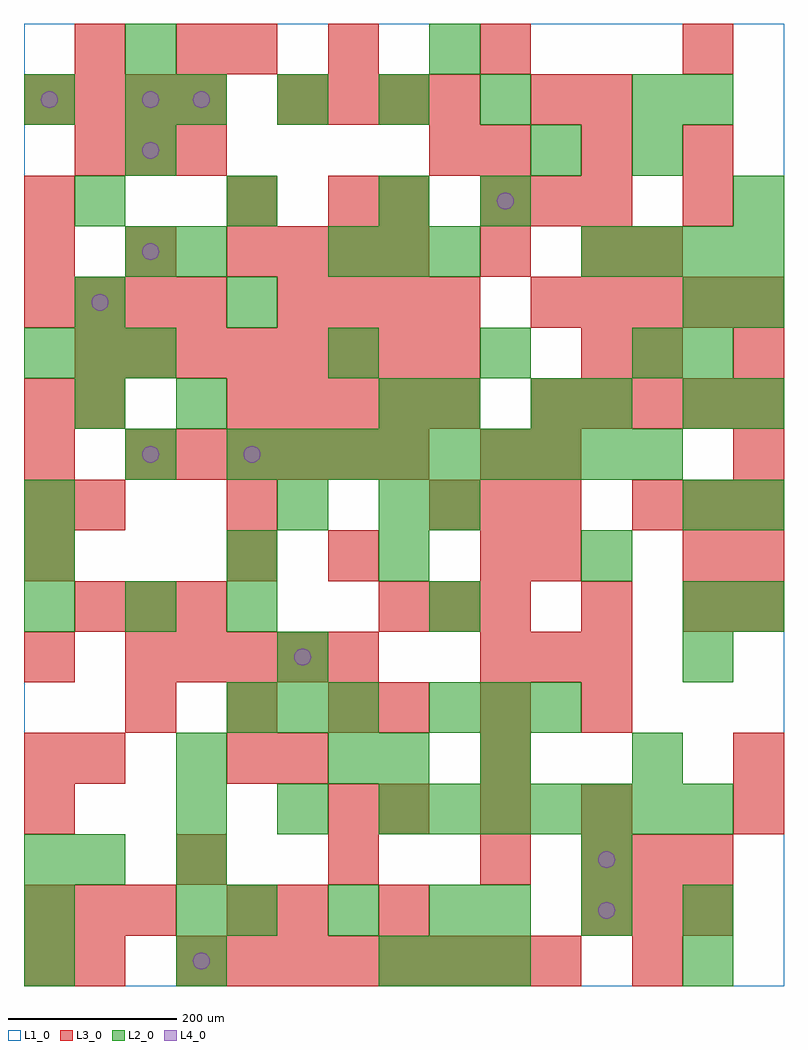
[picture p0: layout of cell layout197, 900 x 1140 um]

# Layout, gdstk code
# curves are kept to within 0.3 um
import gdstk
lib = gdstk.Library(unit=1e-6, precision=1e-09)
def R(c, l, rs):  # rectangles x0, y0, x1, y1
    for r in rs: c.add(gdstk.rectangle(r[:2], r[2:], *l))
def A(c, l, x, y, w, h, nx, ny, dx, dy):  # array of equal rectangles
    R(c, l, [(x+i*dx, y+j*dy, x+i*dx+w, y+j*dy+h) for i in range(nx) for j in range(ny)])
def P(c, l, *ps):  # polygons
    for p in ps: c.add(gdstk.Polygon(p, *l))
L1_0 = (1, 0)
L2_0 = (2, 0)
L3_0 = (3, 0)
L4_0 = (4, 0)

layout197 = lib.new_cell('layout197')
R(layout197, L1_0, [(0,0,900,1140)])
A(layout197, L2_0, 0, 0, 60, 60, 1, 3, 0, 60)
A(layout197, L2_0, 180, 0, 60, 60, 1, 3, 0, 60)
A(layout197, L2_0, 420, 0, 60, 60, 3, 1, 60, 0)
A(layout197, L2_0, 240, 60, 60, 60, 3, 1, 120, 0)
A(layout197, L2_0, 540, 60, 60, 60, 3, 1, 120, 0)
A(layout197, L2_0, 180, 180, 60, 60, 3, 1, 120, 0)
A(layout197, L2_0, 480, 180, 60, 60, 6, 1, 60, 0)
A(layout197, L2_0, 240, 300, 60, 60, 3, 1, 60, 0)
A(layout197, L2_0, 480, 300, 60, 60, 3, 1, 60, 0)
A(layout197, L2_0, 0, 420, 60, 60, 3, 1, 120, 0)
A(layout197, L2_0, 480, 420, 60, 60, 1, 3, 0, 120)
A(layout197, L2_0, 780, 420, 60, 60, 1, 3, 0, 120)
A(layout197, L2_0, 840, 420, 60, 60, 1, 5, 0, 120)
A(layout197, L2_0, 240, 600, 60, 60, 9, 1, 60, 0)
A(layout197, L2_0, 0, 720, 60, 60, 3, 1, 60, 0)
A(layout197, L2_0, 360, 720, 60, 60, 3, 1, 180, 0)
A(layout197, L2_0, 360, 840, 60, 60, 3, 1, 60, 0)
A(layout197, L2_0, 660, 840, 60, 60, 4, 1, 60, 0)
A(layout197, L2_0, 60, 900, 60, 60, 3, 1, 180, 0)
A(layout197, L2_0, 120, 960, 60, 60, 1, 3, 0, 60)
A(layout197, L2_0, 180, 1020, 60, 60, 4, 1, 120, 0)
R(layout197, L2_0, [(780,0,840,60), (60,120,120,180), (660,120,720,180), (180,240,240,300), (360,240,420,300), (420,240,480,300), (540,240,600,300), (720,240,780,300), (300,360,360,420), (780,360,840,420), (0,480,60,540), (240,480,300,540), (420,480,480,540), (660,480,720,540), (0,540,60,600), (300,540,360,600), (420,540,480,600), (120,600,180,660), (60,660,120,720), (180,660,240,720), (420,660,480,720), (600,660,660,720), (660,660,720,720), (780,720,840,780), (60,780,120,840), (240,780,300,840), (780,780,840,840), (120,840,180,900), (180,840,240,900), (540,900,600,960), (600,960,660,1020), (720,960,780,1020), (0,1020,60,1080), (720,1020,780,1080), (780,1020,840,1080), (480,1080,540,1140)])
A(layout197, L3_0, 180, 0, 60, 60, 8, 1, 60, 0)
A(layout197, L3_0, 0, 60, 60, 60, 3, 1, 60, 0)
A(layout197, L3_0, 660, 60, 60, 60, 3, 2, 60, 60)
A(layout197, L3_0, 180, 120, 60, 60, 3, 1, 180, 0)
A(layout197, L3_0, 420, 180, 60, 60, 3, 2, 120, 120)
A(layout197, L3_0, 0, 240, 60, 60, 1, 3, 0, 120)
A(layout197, L3_0, 120, 300, 60, 60, 3, 1, 120, 0)
A(layout197, L3_0, 120, 360, 60, 60, 5, 1, 60, 0)
A(layout197, L3_0, 540, 360, 60, 60, 3, 2, 60, 540)
A(layout197, L3_0, 60, 420, 60, 60, 3, 2, 60, 540)
A(layout197, L3_0, 420, 420, 60, 60, 3, 1, 60, 0)
A(layout197, L3_0, 840, 480, 60, 60, 1, 3, 0, 120)
A(layout197, L3_0, 0, 540, 60, 60, 1, 3, 0, 60)
A(layout197, L3_0, 480, 540, 60, 60, 3, 1, 60, 0)
A(layout197, L3_0, 720, 540, 60, 60, 3, 1, 60, 0)
A(layout197, L3_0, 120, 600, 60, 60, 6, 1, 60, 0)
A(layout197, L3_0, 540, 600, 60, 60, 1, 3, 0, 240)
A(layout197, L3_0, 240, 660, 60, 60, 5, 1, 60, 0)
A(layout197, L3_0, 600, 660, 60, 60, 5, 2, 60, 120)
A(layout197, L3_0, 60, 720, 60, 60, 8, 1, 60, 0)
A(layout197, L3_0, 0, 780, 60, 60, 4, 2, 60, 240)
A(layout197, L3_0, 300, 780, 60, 60, 4, 2, 60, 240)
A(layout197, L3_0, 0, 840, 60, 60, 3, 1, 120, 0)
A(layout197, L3_0, 300, 840, 60, 60, 3, 1, 60, 0)
A(layout197, L3_0, 540, 960, 60, 60, 3, 1, 120, 0)
R(layout197, L3_0, [(0,0,60,60), (60,0,120,60), (720,0,780,60), (240,60,300,120), (300,60,360,120), (420,60,480,120), (0,180,60,240), (360,180,420,240), (840,180,900,240), (60,240,120,300), (240,240,300,300), (300,240,360,300), (540,240,600,300), (840,240,900,300), (660,420,720,480), (780,420,840,480), (840,420,900,480), (240,480,300,540), (360,480,420,540), (540,480,600,540), (600,480,660,540), (780,480,840,540), (60,540,120,600), (240,540,300,600), (600,600,660,660), (60,660,120,720), (660,720,720,780), (720,720,780,780), (660,840,720,900), (720,840,780,900), (0,900,60,960), (240,900,300,960), (360,900,420,960), (420,900,480,960), (780,900,840,960), (480,960,540,1020), (600,1020,660,1080), (660,1020,720,1080), (60,1080,120,1140), (180,1080,240,1140), (240,1080,300,1140), (360,1080,420,1140), (780,1080,840,1140)])
P(layout197, L4_0, [(40,1050),(39.239,1053.827),(37.071,1057.071),(33.827,1059.239),(30,1060),(26.173,1059.239),(22.929,1057.071),(20.761,1053.827),(20,1050),(20.761,1046.173),(22.929,1042.929),(26.173,1040.761),(30,1040),(33.827,1040.761),(37.071,1042.929),(39.239,1046.173)],
  [(100,810),(99.239,813.827),(97.071,817.071),(93.827,819.239),(90,820),(86.173,819.239),(82.929,817.071),(80.761,813.827),(80,810),(80.761,806.173),(82.929,802.929),(86.173,800.761),(90,800),(93.827,800.761),(97.071,802.929),(99.239,806.173)],
  [(160,630),(159.239,633.827),(157.071,637.071),(153.827,639.239),(150,640),(146.173,639.239),(142.929,637.071),(140.761,633.827),(140,630),(140.761,626.173),(142.929,622.929),(146.173,620.761),(150,620),(153.827,620.761),(157.071,622.929),(159.239,626.173)],
  [(160,870),(159.239,873.827),(157.071,877.071),(153.827,879.239),(150,880),(146.173,879.239),(142.929,877.071),(140.761,873.827),(140,870),(140.761,866.173),(142.929,862.929),(146.173,860.761),(150,860),(153.827,860.761),(157.071,862.929),(159.239,866.173)],
  [(160,990),(159.239,993.827),(157.071,997.071),(153.827,999.239),(150,1000),(146.173,999.239),(142.929,997.071),(140.761,993.827),(140,990),(140.761,986.173),(142.929,982.929),(146.173,980.761),(150,980),(153.827,980.761),(157.071,982.929),(159.239,986.173)],
  [(160,1050),(159.239,1053.827),(157.071,1057.071),(153.827,1059.239),(150,1060),(146.173,1059.239),(142.929,1057.071),(140.761,1053.827),(140,1050),(140.761,1046.173),(142.929,1042.929),(146.173,1040.761),(150,1040),(153.827,1040.761),(157.071,1042.929),(159.239,1046.173)],
  [(220,30),(219.239,33.827),(217.071,37.071),(213.827,39.239),(210,40),(206.173,39.239),(202.929,37.071),(200.761,33.827),(200,30),(200.761,26.173),(202.929,22.929),(206.173,20.761),(210,20),(213.827,20.761),(217.071,22.929),(219.239,26.173)],
  [(220,1050),(219.239,1053.827),(217.071,1057.071),(213.827,1059.239),(210,1060),(206.173,1059.239),(202.929,1057.071),(200.761,1053.827),(200,1050),(200.761,1046.173),(202.929,1042.929),(206.173,1040.761),(210,1040),(213.827,1040.761),(217.071,1042.929),(219.239,1046.173)],
  [(280,630),(279.239,633.827),(277.071,637.071),(273.827,639.239),(270,640),(266.173,639.239),(262.929,637.071),(260.761,633.827),(260,630),(260.761,626.173),(262.929,622.929),(266.173,620.761),(270,620),(273.827,620.761),(277.071,622.929),(279.239,626.173)],
  [(340,390),(339.239,393.827),(337.071,397.071),(333.827,399.239),(330,400),(326.173,399.239),(322.929,397.071),(320.761,393.827),(320,390),(320.761,386.173),(322.929,382.929),(326.173,380.761),(330,380),(333.827,380.761),(337.071,382.929),(339.239,386.173)],
  [(580,930),(579.239,933.827),(577.071,937.071),(573.827,939.239),(570,940),(566.173,939.239),(562.929,937.071),(560.761,933.827),(560,930),(560.761,926.173),(562.929,922.929),(566.173,920.761),(570,920),(573.827,920.761),(577.071,922.929),(579.239,926.173)],
  [(700,90),(699.239,93.827),(697.071,97.071),(693.827,99.239),(690,100),(686.173,99.239),(682.929,97.071),(680.761,93.827),(680,90),(680.761,86.173),(682.929,82.929),(686.173,80.761),(690,80),(693.827,80.761),(697.071,82.929),(699.239,86.173)],
  [(700,150),(699.239,153.827),(697.071,157.071),(693.827,159.239),(690,160),(686.173,159.239),(682.929,157.071),(680.761,153.827),(680,150),(680.761,146.173),(682.929,142.929),(686.173,140.761),(690,140),(693.827,140.761),(697.071,142.929),(699.239,146.173)])

lib.write_gds('layout197.gds')
